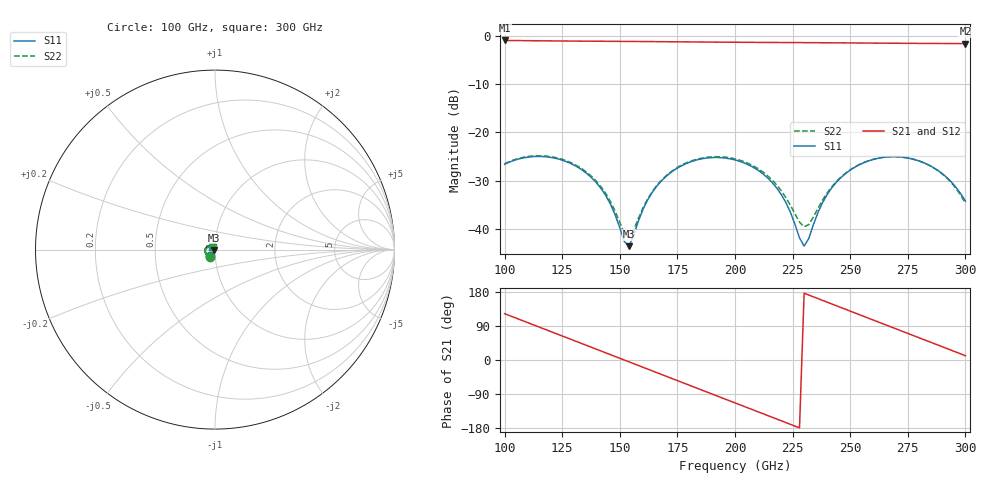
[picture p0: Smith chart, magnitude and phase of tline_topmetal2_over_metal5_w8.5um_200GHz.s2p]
#  GHZ S DB R 50
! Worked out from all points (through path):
!   101 points, 100 GHz to 300 GHz, reference 50 ohm
!   highest |S21| = -1.02 dB at 100 GHz (marker M1); lowest = -1.7 dB at 300 GHz (marker M2)
!   group delay of S21, straight-line fit = 6.54 ps
!   lowest |S11| = -43.5 dB at 154 GHz (marker M3), VSWR 1.01, Z = 49.4 - j0.247 ohm
!   |S11| at or under -10 dB: start of sweep to end of sweep
!   |S22| runs from -41.7 to -24.9 dB; largest |S21 - S12| = 0
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100  -26.62 -126.7  -1.02 122.2  -1.02 122.2  -26.51 -125.4
116  -25.00 -162.9  -1.09 84.6  -1.09 84.6  -24.86 -160.8
124  -25.61 179.3  -1.12 65.7  -1.12 65.7  -25.45 -178.2
134  -27.91 158.5  -1.16 42.2  -1.16 42.2  -27.69 161.7
144  -33.16 143.3  -1.19 18.7  -1.19 18.7  -32.74 148.2
152  -42.61 169.8  -1.21 -0.2  -1.21 -0.2  -40.90 174.1
154  -43.55 -157.9  -1.22 -4.9  -1.22 -4.9  -41.73 -160.2
162  -34.06 -115.0  -1.25 -23.7  -1.25 -23.7  -33.85 -117.1
168  -30.08 -121.5  -1.27 -37.9  -1.27 -37.9  -29.94 -121.7
184  -25.65 -152.6  -1.33 -75.6  -1.33 -75.6  -25.50 -150.7
200  -25.71 173.6  -1.39 -113.2  -1.39 -113.2  -25.50 177.1
210  -27.85 153.7  -1.42 -136.7  -1.42 -136.7  -27.52 158.7
218  -31.46 140.8  -1.44 -155.5  -1.44 -155.5  -30.84 148.3
230  -43.53 -171.7  -1.47 176.2  -1.47 176.2  -39.55 -174.3
234  -39.14 -126.6  -1.48 166.8  -1.48 166.8  -37.54 -140.6
240  -32.87 -119.9  -1.49 152.6  -1.49 152.6  -32.55 -128.0
248  -28.53 -130.9  -1.52 133.7  -1.52 133.7  -28.44 -135.0
258  -25.91 -150.0  -1.55 110.2  -1.55 110.2  -25.87 -152.2
268  -25.06 -170.3  -1.59 86.7  -1.59 86.7  -25.04 -171.6
286  -27.26 154.8  -1.64 44.3  -1.64 44.3  -27.29 153.7
294  -30.33 143.3  -1.65 25.5  -1.65 25.5  -30.48 141.6
300  -34.22 142.2  -1.67 11.4  -1.67 11.4  -34.70 139.2
